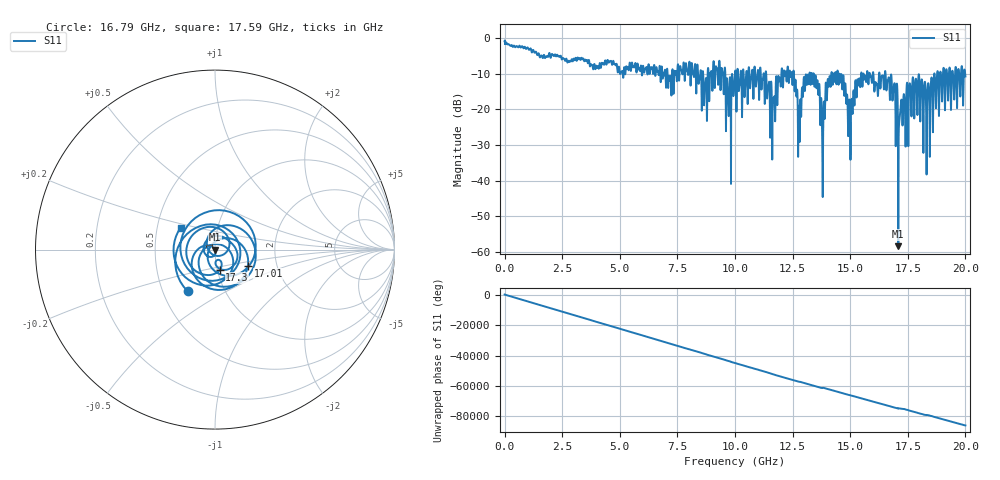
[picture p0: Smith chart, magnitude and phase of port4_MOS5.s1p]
! MS46122B
! 2250307/22442219
! 6/18/2025 1:26:24 PM
! C:\USERS\SPARKY\DOCUMENTS\VNA_DATA\JUNE18_2025\295K\PORT4_MOS5.S1P
! CHANNEL.1
! TR.MEASUREMENT
! RAW.DATA
# GHZ S RI R 50.0
! FREQ.GHZ  S11RE  S11IM
!; PortSelection: Port_1
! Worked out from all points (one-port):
!   10001 points, 1 MHz to 20 GHz, reference 50 ohm
!   lowest |S11| = -58.4 dB at 17.09 GHz (marker M1), VSWR 1.00, Z = 50.1 - j0.107 ohm
!   |S11| at or under -10 dB: 13.42 GHz to 14.18 GHz (767.3 MHz wide, 5.56 % of centre); 14.47 GHz to 15.47 GHz (1.006 GHz wide, 6.72 % of centre); 16.54 GHz to 18.65 GHz (2.112 GHz wide, 12 % of centre) (the widest 3 of 78)
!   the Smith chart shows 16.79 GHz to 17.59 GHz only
!   S11 on the Smith chart (normalised r, x): 16.79 GHz: 0.67, -0.33; 17.01 GHz: 1.42, -0.27; 17.3 GHz: 1.03, -0.23; 17.59 GHz: 0.66, +0.17
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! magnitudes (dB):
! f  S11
! 1 MHz  -1.0
! 2.501 GHz  -5.9
! 5.001 GHz  -9.8
! 7.501 GHz  -9.0
! 9.755 GHz  -14.2
! 10 GHz  -9.8
! 11.17 GHz  -12.5
! 11.67 GHz  -18.1
! 11.96 GHz  -11.5
! 12.5 GHz  -13.0
! 12.8 GHz  -28.8
! 13.07 GHz  -10.5
! 13.49 GHz  -10.5
! 13.8 GHz  -34.5
! 14.02 GHz  -11.7
! 14.53 GHz  -10.1
! 15 GHz  -25.0
! 15.56 GHz  -10.7
! 16.79 GHz  -11.1
! 17.01 GHz  -13.8
! 17.09 GHz  -58.4
! 17.3 GHz  -18.8
! 17.5 GHz  -16.8
! 17.59 GHz  -12.9
! 17.91 GHz  -21.2
! 18.38 GHz  -12.7
! 18.72 GHz  -19.7
! 20 GHz  -10.8
